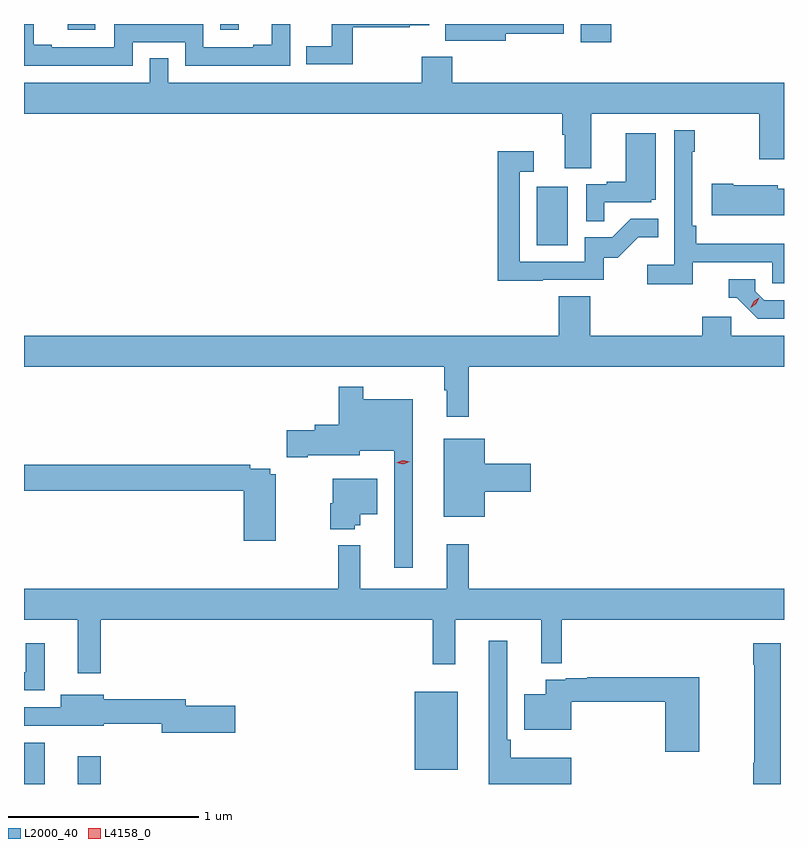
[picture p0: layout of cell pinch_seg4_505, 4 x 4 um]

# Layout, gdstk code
import gdstk
lib = gdstk.Library(unit=1e-6, precision=1e-09)
def R(c, l, rs):  # rectangles x0, y0, x1, y1
    for r in rs: c.add(gdstk.rectangle(r[:2], r[2:], *l))
def P(c, l, *ps):  # polygons
    for p in ps: c.add(gdstk.Polygon(p, *l))
L2000_40 = (2000, 40)
L4158_0 = (4158, 0)

pinch_seg4_505 = lib.new_cell('pinch_seg4_505')
R(pinch_seg4_505, L2000_40, [(995.566,749.336,995.674,749.554), (995.849,749.336,995.971,749.482), (997.622,749.411,997.849,749.821), (998.264,752.172,998.428,752.479), (998.495,753.24,998.656,753.336), (995.797,753.306,995.941,753.336), (996.6,753.306,996.697,753.336)])
P(pinch_seg4_505, L2000_40, [(997.297,753.318),(997.595,753.318),(997.595,753.329),(997.698,753.329),(997.698,753.336),(997.186,753.336),(997.186,753.22),(997.051,753.22),(997.051,753.123),(997.297,753.123)],
  [(996.138,753.24),(996.414,753.24),(996.414,753.117),(996.966,753.117),(996.966,753.336),(996.869,753.336),(996.869,753.226),(996.773,753.226),(996.773,753.213),(996.51,753.213),(996.51,753.336),(996.042,753.336),(996.042,753.213),(995.713,753.213),(995.713,753.226),(995.618,753.226),(995.618,753.336),(995.566,753.336),(995.566,753.117),(996.138,753.117)],
  [(998.101,753.286),(998.406,753.286),(998.406,753.336),(997.783,753.336),(997.783,753.248),(998.101,753.248)],
  [(998.551,752.864),(999.436,752.864),(999.436,752.625),(999.566,752.625),(999.566,753.028),(997.82,753.028),(997.82,753.163),(997.66,753.163),(997.66,753.028),(996.324,753.028),(996.324,753.155),(996.228,753.155),(996.228,753.028),(995.566,753.028),(995.566,752.864),(998.399,752.864),(998.399,752.752),(998.411,752.752),(998.411,752.578),(998.551,752.578)],
  [(999.086,752.082),(999.504,752.082),(999.504,751.971),(999.566,751.971),(999.566,752.179),(999.104,752.179),(999.104,752.275),(999.084,752.275),(999.084,752.663),(999.097,752.663),(999.097,752.776),(998.988,752.776),(998.988,752.068),(998.847,752.068),(998.847,751.966),(999.086,751.966)],
  [(998.621,752.397),(998.868,752.397),(998.868,752.412),(998.89,752.412),(998.89,752.761),(998.732,752.761),(998.732,752.506),(998.633,752.506),(998.633,752.493),(998.526,752.493),(998.526,752.299),(998.621,752.299)],
  [(998.297,751.989),(998.616,751.989),(998.616,752.106),(998.692,752.106),(998.799,752.213),(998.903,752.213),(998.903,752.312),(998.759,752.312),(998.661,752.214),(998.517,752.214),(998.517,752.085),(998.175,752.085),(998.175,752.559),(998.248,752.559),(998.248,752.665),(998.059,752.665),(998.059,751.984),(998.297,751.984)],
  [(999.566,752.47),(999.534,752.47),(999.534,752.488),(999.298,752.488),(999.298,752.496),(999.186,752.496),(999.186,752.33),(999.566,752.33)],
  [(999.566,751.881),(999.462,751.881),(999.414,751.929),(999.414,751.992),(999.275,751.992),(999.275,751.896),(999.318,751.896),(999.429,751.785),(999.566,751.785)],
  [(997.907,751.532),(999.566,751.532),(999.566,751.696),(999.288,751.696),(999.288,751.794),(999.137,751.794),(999.137,751.696),(998.546,751.696),(998.546,751.904),(998.381,751.904),(998.381,751.696),(995.566,751.696),(995.566,751.532),(997.779,751.532),(997.779,751.409),(997.79,751.409),(997.79,751.269),(997.907,751.269)],
  [(997.612,751.36),(997.351,751.36),(997.351,751.426),(997.222,751.426),(997.222,751.227),(997.097,751.227),(997.097,751.197),(996.948,751.197),(996.948,751.055),(997.06,751.055),(997.06,751.067),(997.332,751.067),(997.332,751.091),(997.515,751.091),(997.515,750.474),(997.612,750.474)],
  [(997.99,750.875),(998.233,750.875),(998.233,751.022),(997.99,751.022),(997.99,751.153),(997.775,751.153),(997.775,750.743),(997.99,750.743)],
  [(996.892,750.967),(996.862,750.967),(996.862,750.996),(996.758,750.996),(996.758,751.016),(995.566,751.016),(995.566,750.88),(996.722,750.88),(996.722,750.615),(996.892,750.615)],
  [(997.308,750.699),(997.336,750.699),(997.336,750.755),(997.426,750.755),(997.426,750.943),(997.19,750.943),(997.19,750.813),(997.178,750.813),(997.178,750.677),(997.308,750.677)],
  [(995.971,750.2),(997.717,750.2),(997.717,749.967),(997.835,749.967),(997.835,750.2),(998.288,750.2),(998.288,749.971),(998.396,749.971),(998.396,750.2),(999.566,750.2),(999.566,750.364),(997.907,750.364),(997.907,750.598),(997.79,750.598),(997.79,750.364),(997.337,750.364),(997.337,750.592),(997.219,750.592),(997.219,750.364),(995.566,750.364),(995.566,750.2),(995.849,750.2),(995.849,749.919),(995.971,749.919)],
  [(998.446,749.473),(998.129,749.473),(998.129,749.569),(998.109,749.569),(998.109,750.091),(998.012,750.091),(998.012,749.336),(998.446,749.336)],
  [(999.55,750.076),(999.404,750.076),(999.404,749.963),(999.409,749.963),(999.409,749.448),(999.404,749.448),(999.404,749.336),(999.55,749.336)],
  [(995.674,750.076),(995.576,750.076),(995.576,749.925),(995.566,749.925),(995.566,749.829),(995.674,749.829)],
  [(999.12,749.899),(998.53,749.899),(998.53,749.892),(998.416,749.892),(998.416,749.886),(998.312,749.886),(998.312,749.809),(998.198,749.809),(998.198,749.621),(998.447,749.621),(998.447,749.77),(998.942,749.77),(998.942,749.505),(999.12,749.505)],
  [(996.679,749.748),(996.418,749.748),(996.418,749.782),(995.986,749.782),(995.986,749.806),(995.759,749.806),(995.759,749.739),(995.566,749.739),(995.566,749.643),(995.763,749.643),(995.763,749.642),(995.986,749.642),(995.986,749.653),(996.29,749.653),(996.29,749.606),(996.679,749.606)])
P(pinch_seg4_505, L4158_0, [(997.561,751.019),(997.526,751.027),(997.525,751.027),(997.526,751.027),(997.56,751.039),(997.596,751.031),(997.596,751.031),(997.596,751.031)],
  [(999.39,751.843),(999.39,751.844),(999.406,751.876),(999.436,751.896),(999.437,751.896),(999.437,751.896),(999.421,751.863),(999.391,751.843)])

lib.write_gds('pinch_seg4_505.gds')
